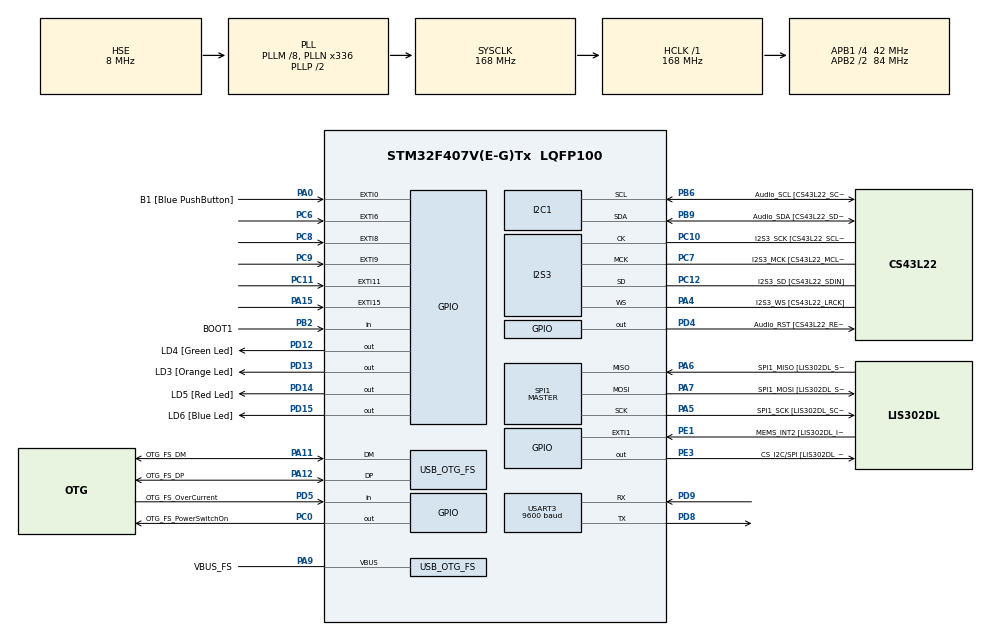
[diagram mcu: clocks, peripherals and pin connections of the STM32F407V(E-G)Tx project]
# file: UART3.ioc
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I2S3.AudioFreq-Half_Duplex_Master=I2S_AUDIOFREQ_96K
I2S3.ErrorAudioFreq=-2.34 %
I2S3.ErrorAudioFreq-Half_Duplex_Master=0.8 %
I2S3.FullDuplexMode=I2S_FULLDUPLEXMODE_DISABLE
I2S3.Instance=SPI$Index
I2S3.RealAudioFreq=93.75 KHz
I2S3.RealAudioFreq-Half_Duplex_Master=96.774 KHz
I2S3.VirtualMode=I2S_MODE_MASTER
Mcu.Family=STM32F4
Mcu.Name=STM32F407V(E-G)Tx
Mcu.Package=LQFP100
NVIC.EXTI15_10_IRQn=true\:0\:0\:false\:false\:true\:true\:true\:true
NVIC.EXTI9_5_IRQn=true\:0\:0\:false\:false\:true\:true\:true\:true
NVIC.OTG_FS_IRQn=true\:0\:0\:false\:false\:true\:true\:true\:true
NVIC.PriorityGroup=NVIC_PRIORITYGROUP_0
NVIC.USART3_IRQn=true\:0\:0\:false\:false\:true\:true\:true\:true
PA0-WKUP.GPIO_Label=B1 [Blue PushButton]
PA0-WKUP.GPIO_ModeDefaultEXTI=GPIO_MODE_EVT_RISING
PA0-WKUP.GPIO_PuPd=GPIO_NOPULL
PA0-WKUP.Signal=GPXTI0
PA10.GPIO_Label=OTG_FS_ID
PA10.GPIO_Mode=GPIO_MODE_AF_PP
PA10.GPIO_PuPd=GPIO_NOPULL
PA10.GPIO_Speed=GPIO_SPEED_FREQ_LOW
PA10.Signal=USB_OTG_FS_ID
PA11.GPIO_Label=OTG_FS_DM
PA11.GPIO_Mode=GPIO_MODE_AF_PP
PA11.GPIO_PuPd=GPIO_NOPULL
PA11.GPIO_Speed=GPIO_SPEED_FREQ_LOW
PA11.Mode=Host_Only
PA11.Signal=USB_OTG_FS_DM
PA12.GPIO_Label=OTG_FS_DP
PA12.GPIO_Mode=GPIO_MODE_AF_PP
PA12.GPIO_PuPd=GPIO_NOPULL
PA12.GPIO_Speed=GPIO_SPEED_FREQ_LOW
PA12.Mode=Host_Only
PA12.Signal=USB_OTG_FS_DP
PA13.GPIO_Label=SWDIO
PA13.Mode=Serial_Wire
PA13.Signal=SYS_JTMS-SWDIO
PA14.GPIO_Label=SWCLK
PA14.Mode=Serial_Wire
PA14.Signal=SYS_JTCK-SWCLK
PA15.GPIO_ModeDefaultEXTI=GPIO_MODE_IT_FALLING
PA15.Signal=GPXTI15
PA4.GPIO_Label=I2S3_WS [CS43L22_LRCK]
PA4.GPIO_Mode=GPIO_MODE_AF_PP
PA4.GPIO_PuPd=GPIO_NOPULL
PA4.GPIO_Speed=GPIO_SPEED_FREQ_LOW
PA4.Mode=Half_Duplex_Master
PA4.Signal=I2S3_WS
PA5.GPIO_Label=SPI1_SCK [LIS302DL_SCL/SPC]
PA5.GPIO_Mode=GPIO_MODE_AF_PP
PA5.GPIO_PuPd=GPIO_NOPULL
PA5.GPIO_Speed=GPIO_SPEED_FREQ_LOW
PA5.Mode=Full_Duplex_Master
PA5.Signal=SPI1_SCK
PA6.GPIO_Label=SPI1_MISO [LIS302DL_SDO]
PA6.GPIO_Mode=GPIO_MODE_AF_PP
PA6.GPIO_PuPd=GPIO_NOPULL
PA6.GPIO_Speed=GPIO_SPEED_FREQ_LOW
PA6.Mode=Full_Duplex_Master
PA6.Signal=SPI1_MISO
PA7.GPIO_Label=SPI1_MOSI [LIS302DL_SDA/SDI/SDO]
PA7.GPIO_Mode=GPIO_MODE_AF_PP
PA7.GPIO_PuPd=GPIO_NOPULL
PA7.GPIO_Speed=GPIO_SPEED_FREQ_LOW
PA7.Mode=Full_Duplex_Master
PA7.Signal=SPI1_MOSI
PA9.GPIO_Label=VBUS_FS
PA9.GPIO_Mode=GPIO_MODE_INPUT
PA9.GPIO_PuPd=GPIO_NOPULL
PA9.Mode=Activate_VBUS
PA9.Signal=USB_OTG_FS_VBUS
PB10.GPIO_Label=CLK_IN [MP45DT02_CLK]
PB10.GPIO_Mode=GPIO_MODE_AF_PP
PB10.GPIO_PuPd=GPIO_NOPULL
PB10.GPIO_Speed=GPIO_SPEED_FREQ_LOW
PB10.Signal=I2S2_CK
PB2.GPIO_Label=BOOT1
PB2.GPIO_Mode=GPIO_MODE_INPUT
PB2.GPIO_PuPd=GPIO_NOPULL
PB2.Signal=GPIO_Input
PB3.GPIO_Label=SWO
PB3.Signal=SYS_JTDO-SWO
PB6.GPIO_Label=Audio_SCL [CS43L22_SCL]
PB6.GPIO_Mode=GPIO_MODE_AF_OD
PB6.GPIO_Pu=GPIO_PULLUP
PB6.GPIO_PuPd=GPIO_NOPULL
PB6.GPIO_Speed=GPIO_SPEED_FREQ_LOW
PB6.Mode=I2C
PB6.Signal=I2C1_SCL
PB9.GPIO_Label=Audio_SDA [CS43L22_SDA]
PB9.GPIO_Mode=GPIO_MODE_AF_OD
PB9.GPIO_Pu=GPIO_PULLUP
PB9.GPIO_PuPd=GPIO_NOPULL
PB9.GPIO_Speed=GPIO_SPEED_FREQ_LOW
PB9.Mode=I2C
PB9.Signal=I2C1_SDA
PC0.GPIO_Label=OTG_FS_PowerSwitchOn
PC0.GPIO_PuPd=GPIO_NOPULL
PC0.GPIO_Speed=GPIO_SPEED_FREQ_LOW
PC0.PinState=GPIO_PIN_SET
PC0.Signal=GPIO_Output
PC10.GPIO_Label=I2S3_SCK [CS43L22_SCLK]
PC10.GPIO_Mode=GPIO_MODE_AF_PP
PC10.GPIO_PuPd=GPIO_NOPULL
PC10.GPIO_Speed=GPIO_SPEED_FREQ_LOW
PC10.Mode=Half_Duplex_Master
PC10.Signal=I2S3_CK
PC11.GPIO_ModeDefaultEXTI=GPIO_MODE_IT_FALLING
PC11.Signal=GPXTI11
PC12.GPIO_Label=I2S3_SD [CS43L22_SDIN]
PC12.GPIO_Mode=GPIO_MODE_AF_PP
PC12.GPIO_PuPd=GPIO_NOPULL
PC12.GPIO_Speed=GPIO_SPEED_FREQ_LOW
PC12.Mode=Half_Duplex_Master
PC12.Signal=I2S3_SD
PC14-OSC32_IN.GPIO_Label=PC14-OSC32_IN
PC14-OSC32_IN.Mode=LSE-External-Oscillator
PC14-OSC32_IN.Signal=RCC_OSC32_IN
PC15-OSC32_OUT.GPIO_Label=PC15-OSC32_OUT
PC15-OSC32_OUT.Mode=LSE-External-Oscillator
PC15-OSC32_OUT.Signal=RCC_OSC32_OUT
PC3.GPIO_Label=PDM_OUT [MP45DT02_DOUT]
PC3.GPIO_Mode=GPIO_MODE_AF_PP
PC3.GPIO_PuPd=GPIO_NOPULL
PC3.GPIO_Speed=GPIO_SPEED_FREQ_LOW
PC3.Signal=I2S2_SD
PC6.GPIO_ModeDefaultEXTI=GPIO_MODE_IT_FALLING
PC6.Signal=GPXTI6
PC7.GPIO_Label=I2S3_MCK [CS43L22_MCLK]
PC7.GPIO_Mode=GPIO_MODE_AF_PP
PC7.GPIO_PuPd=GPIO_NOPULL
PC7.GPIO_Speed=GPIO_SPEED_FREQ_LOW
PC7.Mode=Master_Clock_Activated
PC7.Signal=I2S3_MCK
PC8.GPIO_ModeDefaultEXTI=GPIO_MODE_IT_FALLING
PC8.Signal=GPXTI8
PC9.GPIO_ModeDefaultEXTI=GPIO_MODE_IT_FALLING
PC9.Signal=GPXTI9
PD12.GPIO_Label=LD4 [Green Led]
PD12.GPIO_PuPd=GPIO_NOPULL
PD12.GPIO_Speed=GPIO_SPEED_FREQ_LOW
PD12.Signal=GPIO_Output
PD13.GPIO_Label=LD3 [Orange Led]
PD13.GPIO_PuPd=GPIO_NOPULL
PD13.GPIO_Speed=GPIO_SPEED_FREQ_LOW
PD13.Signal=GPIO_Output
PD14.GPIO_Label=LD5 [Red Led]
PD14.GPIO_PuPd=GPIO_NOPULL
PD14.GPIO_Speed=GPIO_SPEED_FREQ_LOW
PD14.Signal=GPIO_Output
PD15.GPIO_Label=LD6 [Blue Led]
PD15.GPIO_PuPd=GPIO_NOPULL
PD15.GPIO_Speed=GPIO_SPEED_FREQ_LOW
PD15.Signal=GPIO_Output
PD4.GPIO_Label=Audio_RST [CS43L22_RESET]
PD4.GPIO_PuPd=GPIO_NOPULL
PD4.GPIO_Speed=GPIO_SPEED_FREQ_LOW
PD4.Signal=GPIO_Output
PD5.GPIO_Label=OTG_FS_OverCurrent
PD5.GPIO_Mode=GPIO_MODE_INPUT
PD5.GPIO_PuPd=GPIO_NOPULL
PD5.Signal=GPIO_Input
PD8.Mode=Asynchronous
PD8.Signal=USART3_TX
PD9.Mode=Asynchronous
PD9.Signal=USART3_RX
PE1.GPIO_Label=MEMS_INT2 [LIS302DL_INT2]
PE1.GPIO_ModeDefaultEXTI=GPIO_MODE_EVT_RISING
PE1.GPIO_PuPd=GPIO_NOPULL
PE1.Signal=GPXTI1
PE3.GPIO_Label=CS_I2C/SPI [LIS302DL_CS_I2C/SPI]
PE3.GPIO_PuPd=GPIO_NOPULL
PE3.GPIO_Speed=GPIO_SPEED_FREQ_LOW
PE3.Signal=GPIO_Output
PH0-OSC_IN.GPIO_Label=PH0-OSC_IN
PH0-OSC_IN.Mode=HSE-External-Oscillator
PH0-OSC_IN.Signal=RCC_OSC_IN
PH1-OSC_OUT.GPIO_Label=PH1-OSC_OUT
PH1-OSC_OUT.Mode=HSE-External-Oscillator
PH1-OSC_OUT.Signal=RCC_OSC_OUT
ProjectManager.HeapSize=0x200
ProjectManager.StackSize=0x400
ProjectManager.TargetToolchain=STM32CubeIDE
RCC.48MHZClocksFreq_Value=48000000
RCC.AHBFreq_Value=168000000
RCC.APB1CLKDivider=RCC_HCLK_DIV4
RCC.APB1Freq_Value=42000000
RCC.APB1TimFreq_Value=84000000
RCC.APB2CLKDivider=RCC_HCLK_DIV2
RCC.APB2Freq_Value=84000000
RCC.APB2TimFreq_Value=168000000
RCC.CortexFreq_Value=168000000
RCC.HCLKFreq_Value=168000000
RCC.HSE_VALUE=8000000
RCC.HSI_VALUE=16000000
RCC.PLLM=8
RCC.PLLN=336
RCC.PLLQ=7
RCC.SYSCLKFreq_VALUE=168000000
RCC.SYSCLKSource=RCC_SYSCLKSOURCE_PLLCLK
RCC.VCOOutputFreq_Value=336000000
SPI1.BaudRatePrescaler-Full_Duplex_Master=SPI_BAUDRATEPRESCALER_2
SPI1.CalculateBaudRate-Full_Duplex_Master=42.0 MBits/s
SPI1.Direction=SPI_DIRECTION_2LINES
SPI1.Mode=SPI_MODE_MASTER
SPI1.Mode-Full_Duplex_Master=SPI_MODE_MASTER
SPI1.VirtualType=VM_MASTER
USART3.BaudRate=9600
USART3.VirtualMode=VM_ASYNC
USB_HOST.BSP.number=1
USB_HOST.USBH_HandleTypeDef-CDC_FS=hUsbHostFS
USB_HOST.VirtualModeFS=Cdc
USB_HOST0.BSP.STBoard=false
USB_HOST0.BSP.api=Unknown
USB_HOST0.BSP.instance=PC0
USB_HOST0.BSP.ip=GPIO
USB_HOST0.BSP.mode=Output
USB_HOST0.BSP.name=Drive_VBUS_FS
USB_HOST0.BSP.solution=PC0
USB_OTG_FS.VirtualMode=Host_Only
USB_OTG_FS.phy_itface=HCD_PHY_EMBEDDED
VP_USB_HOST_VS_USB_HOST_CDC_FS.Mode=CDC_FS
board=STM32F407G-DISC1

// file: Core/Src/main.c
/* USER CODE BEGIN Header */
/**
  ******************************************************************************
  * @file           : main.c
  * @brief          : Main program body
  ******************************************************************************
  * @attention
  *
  * Copyright (c) 2026 STMicroelectronics.
  * All rights reserved.
  *
  * This software is licensed under terms that can be found in the LICENSE file
  * in the root directory of this software component.
  * If no LICENSE file comes with this software, it is provided AS-IS.
  *
  ******************************************************************************
  */
/* USER CODE END Header */
#include "main.h"
#include "i2c.h"
#include "i2s.h"
#include "spi.h"
#include "usart.h"
#include "usb_host.h"
#include "gpio.h"

/* USER CODE BEGIN Includes */

#include <stdio.h>

/* USER CODE END Includes */

/* USER CODE BEGIN PV */

uint8_t rx_byte;
volatile uint8_t sw_flag = 0;
volatile uint8_t pc_flag = 0;
/* USER CODE END PV */

void SystemClock_Config(void);
void MX_USB_HOST_Process(void);

/* USER CODE BEGIN 0 */

int __io_putchar(int ch){
	HAL_UART_Transmit(&huart3, (uint8_t *)&ch, 1, 100);
	return ch;
}

/* USER CODE END 0 */

int main(void)
{

  /* MCU Configuration--------------------------------------------------------*/

  /* Reset of all peripherals, Initializes the Flash interface and the Systick. */
  HAL_Init();

  /* Configure the system clock */
  SystemClock_Config();

  /* Initialize all configured peripherals */
  MX_GPIO_Init();
  MX_I2C1_Init();
  MX_I2S3_Init();
  MX_SPI1_Init();
  MX_USB_HOST_Init();
  MX_USART3_UART_Init();
  /* USER CODE BEGIN 2 */

  setvbuf(stdout, NULL, _IONBF, 0);
  HAL_UART_Receive_IT(&huart3, &rx_byte, 1);
  HAL_UART_Transmit(&huart3, (uint8_t*)"\r\n=== START ===\r\n", 25, 100);

  /* USER CODE END 2 */

  /* Infinite loop */
  /* USER CODE BEGIN WHILE */
  while (1)
  {
	  if (sw_flag != 0 || pc_flag != 0) {

	            uint8_t led1 = HAL_GPIO_ReadPin(GPIOD, GPIO_PIN_12);
	            uint8_t led2 = HAL_GPIO_ReadPin(GPIOD, GPIO_PIN_13);
	            uint8_t led3 = HAL_GPIO_ReadPin(GPIOD, GPIO_PIN_14);
	            uint8_t led4 = HAL_GPIO_ReadPin(GPIOD, GPIO_PIN_15);

	            if (sw_flag != 0) {
	                printf("\r\n[Source: Board Switch]\r\n");
	                sw_flag = 0;
	            }
	            else if (pc_flag != 0) {
	                printf("\r\n[Source: Keyboard PC]\r\n");
	                pc_flag = 0;
	            }

	            printf("States LED -> L1: %s | L2: %s | L3: %s | L4: %s\r\n",
	                   led1 ? "ON " : "OFF",
	                   led2 ? "ON " : "OFF",
	                   led3 ? "ON " : "OFF",
	                   led4 ? "ON " : "OFF");
	        }
    /* USER CODE END WHILE */
    MX_USB_HOST_Process();

  }
}

void SystemClock_Config(void)
{
  RCC_OscInitTypeDef RCC_OscInitStruct = {0};
  RCC_ClkInitTypeDef RCC_ClkInitStruct = {0};

  /** Configure the main internal regulator output voltage
  */
  __HAL_RCC_PWR_CLK_ENABLE();
  __HAL_PWR_VOLTAGESCALING_CONFIG(PWR_REGULATOR_VOLTAGE_SCALE1);

  /** Initializes the RCC Oscillators according to the specified parameters
  * in the RCC_OscInitTypeDef structure.
  */
  RCC_OscInitStruct.OscillatorType = RCC_OSCILLATORTYPE_HSE;
  RCC_OscInitStruct.HSEState = RCC_HSE_ON;
  RCC_OscInitStruct.PLL.PLLState = RCC_PLL_ON;
  RCC_OscInitStruct.PLL.PLLSource = RCC_PLLSOURCE_HSE;
  RCC_OscInitStruct.PLL.PLLM = 8;
  RCC_OscInitStruct.PLL.PLLN = 336;
  RCC_OscInitStruct.PLL.PLLP = RCC_PLLP_DIV2;
  RCC_OscInitStruct.PLL.PLLQ = 7;
  if (HAL_RCC_OscConfig(&RCC_OscInitStruct) != HAL_OK)
  {
    Error_Handler();
  }

  /** Initializes the CPU, AHB and APB buses clocks
  */
  RCC_ClkInitStruct.ClockType = RCC_CLOCKTYPE_HCLK|RCC_CLOCKTYPE_SYSCLK
                              |RCC_CLOCKTYPE_PCLK1|RCC_CLOCKTYPE_PCLK2;
  RCC_ClkInitStruct.SYSCLKSource = RCC_SYSCLKSOURCE_PLLCLK;
  RCC_ClkInitStruct.AHBCLKDivider = RCC_SYSCLK_DIV1;
  RCC_ClkInitStruct.APB1CLKDivider = RCC_HCLK_DIV4;
  RCC_ClkInitStruct.APB2CLKDivider = RCC_HCLK_DIV2;

  if (HAL_RCC_ClockConfig(&RCC_ClkInitStruct, FLASH_LATENCY_5) != HAL_OK)
  {
    Error_Handler();
  }
}

/* USER CODE BEGIN 4 */

void HAL_GPIO_EXTI_Callback(uint16_t GPIO_Pin){
	if(GPIO_Pin == GPIO_PIN_6){
		HAL_GPIO_TogglePin(GPIOD, GPIO_PIN_15);
		sw_flag = 1;

	}
	else if(GPIO_Pin == GPIO_PIN_8){
		HAL_GPIO_TogglePin(GPIOD, GPIO_PIN_14);
		sw_flag = 2;

	}
	else if(GPIO_Pin == GPIO_PIN_9){
		HAL_GPIO_TogglePin(GPIOD, GPIO_PIN_13);
		sw_flag = 3;

	}
	else if(GPIO_Pin == GPIO_PIN_11){
		HAL_GPIO_TogglePin(GPIOD, GPIO_PIN_12);
		sw_flag = 4;
	}
	else if(GPIO_Pin == GPIO_PIN_15){
		HAL_GPIO_TogglePin(GPIOD, GPIO_PIN_12 | GPIO_PIN_13 | GPIO_PIN_14 | GPIO_PIN_15);
		sw_flag = 5;
	}
}

void HAL_UART_RxCpltCallback(UART_HandleTypeDef *huart) {
    if(huart->Instance == USART3) {
        if(rx_byte == '1') {
            HAL_GPIO_TogglePin(GPIOD, GPIO_PIN_12);
            pc_flag = 1;
        }
        else if(rx_byte == '2') {
        	HAL_GPIO_TogglePin(GPIOD, GPIO_PIN_13);
        	pc_flag = 2;
        }
        else if(rx_byte == '3') {
        	HAL_GPIO_TogglePin(GPIOD, GPIO_PIN_14);
        	pc_flag = 3;
        }
        else if(rx_byte == '4') {
        	HAL_GPIO_TogglePin(GPIOD, GPIO_PIN_15);
        	pc_flag = 4;
        }
        else if(rx_byte == '5') {
        	HAL_GPIO_TogglePin(GPIOD, GPIO_PIN_12 | GPIO_PIN_13 | GPIO_PIN_14 | GPIO_PIN_15);
        	pc_flag = 5;
        }

        HAL_UART_Receive_IT(&huart3, &rx_byte, 1);
    }
}

/* USER CODE END 4 */

void Error_Handler(void)
{
  __disable_irq();
  while (1)
  {
  }
}
